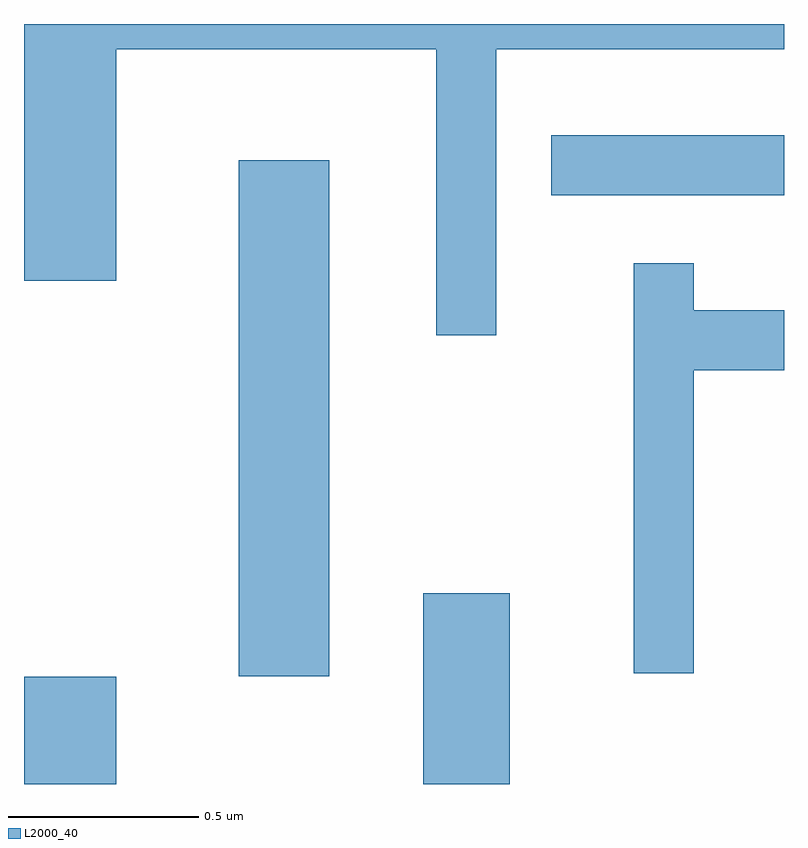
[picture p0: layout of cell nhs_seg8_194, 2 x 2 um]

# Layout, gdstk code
import gdstk
lib = gdstk.Library(unit=1e-6, precision=1e-09)
def R(c, l, rs):  # rectangles x0, y0, x1, y1
    for r in rs: c.add(gdstk.rectangle(r[:2], r[2:], *l))
def P(c, l, *ps):  # polygons
    for p in ps: c.add(gdstk.Polygon(p, *l))
L2000_40 = (2000, 40)

nhs_seg8_194 = lib.new_cell('nhs_seg8_194')
R(nhs_seg8_194, L2000_40, [(186.611,1863.342,186.854,1863.624), (187.661,1863.342,187.889,1863.844), (187.176,1863.626,187.414,1864.984), (187.998,1864.891,188.611,1865.049)])
P(nhs_seg8_194, L2000_40, [(187.854,1865.276),(188.611,1865.276),(188.611,1865.342),(186.611,1865.342),(186.611,1864.666),(186.854,1864.666),(186.854,1865.276),(187.696,1865.276),(187.696,1864.523),(187.854,1864.523)],
  [(188.374,1864.431),(188.611,1864.431),(188.611,1864.589),(188.374,1864.589),(188.374,1864.713),(188.216,1864.713),(188.216,1863.633),(188.374,1863.633)])

lib.write_gds('nhs_seg8_194.gds')
